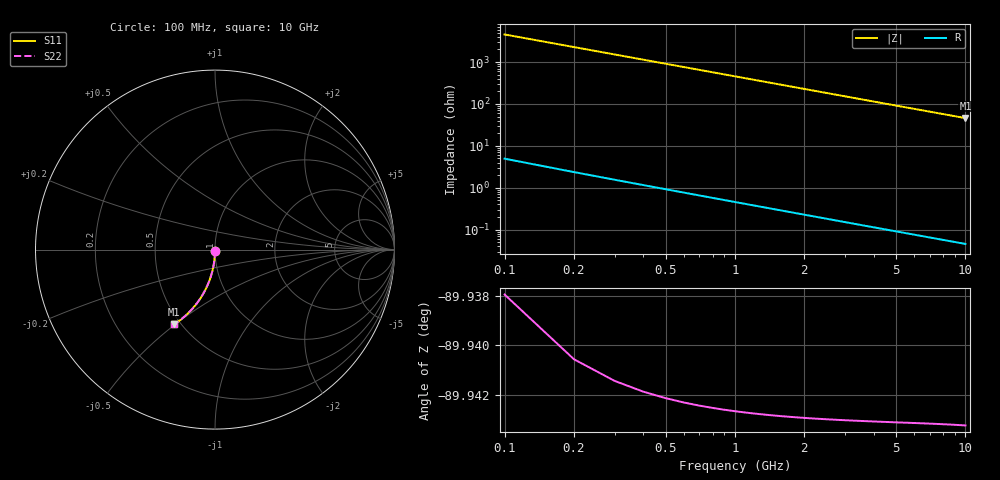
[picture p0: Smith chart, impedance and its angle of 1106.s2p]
# Hz S RI R 50.00
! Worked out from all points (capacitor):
!   100 points, 100 MHz to 10 GHz, reference 50 ohm
!   read as one part in shunt: C = 348 fF near 100 MHz
!   lowest |Z| = 46.1 ohm at 10 GHz (marker M1)
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1e8  -2.76e-05 -0.00545  1 -0.0055  1 -0.0055  -2.76e-05 -0.00545
2e8  -0.000123 -0.0109  0.9999 -0.011  0.9999 -0.011  -0.000123 -0.0109
3e8  -0.000278 -0.0163  0.9997 -0.0165  0.9997 -0.0165  -0.000278 -0.0163
4e8  -0.000493 -0.0218  0.9995 -0.022  0.9995 -0.022  -0.000493 -0.0218
5e8  -0.000767 -0.0272  0.9992 -0.0275  0.9992 -0.0275  -0.000767 -0.0272
6e8  -0.0011 -0.0326  0.9989 -0.033  0.9989 -0.033  -0.0011 -0.0326
7e8  -0.00149 -0.0381  0.9985 -0.0384  0.9985 -0.0384  -0.00149 -0.0381
8e8  -0.00195 -0.0435  0.998 -0.0439  0.998 -0.0439  -0.00195 -0.0435
9e8  -0.00246 -0.0489  0.9975 -0.0494  0.9975 -0.0494  -0.00246 -0.0489
1.1e9  -0.00366 -0.0597  0.9963 -0.0603  0.9963 -0.0603  -0.00366 -0.0597
1.4e9  -0.0059 -0.0757  0.9941 -0.0765  0.9941 -0.0765  -0.0059 -0.0757
1.8e9  -0.00968 -0.097  0.9903 -0.098  0.9903 -0.098  -0.00968 -0.097
2.1e9  -0.0131 -0.1127  0.9869 -0.1139  0.9869 -0.1139  -0.0131 -0.1127
2.5e9  -0.0185 -0.1334  0.9815 -0.1348  0.9815 -0.1348  -0.0185 -0.1334
2.9e9  -0.0246 -0.1538  0.9753 -0.1553  0.9753 -0.1553  -0.0246 -0.1538
3.4e9  -0.0335 -0.1786  0.9665 -0.1804  0.9665 -0.1804  -0.0335 -0.1786
4.2e9  -0.0501 -0.2166  0.9498 -0.2189  0.9498 -0.2189  -0.0501 -0.2166
5.1e9  -0.0721 -0.2567  0.9279 -0.2595  0.9279 -0.2595  -0.0721 -0.2567
5.9e9  -0.094 -0.2897  0.906 -0.2929  0.906 -0.2929  -0.094 -0.2897
6.7e9  -0.1178 -0.3201  0.8822 -0.3237  0.8822 -0.3237  -0.1178 -0.3201
8.4e9  -0.173 -0.3755  0.8269 -0.3801  0.8269 -0.3801  -0.173 -0.3755
1e10  -0.2283 -0.4164  0.7717 -0.422  0.7717 -0.422  -0.2283 -0.4164
